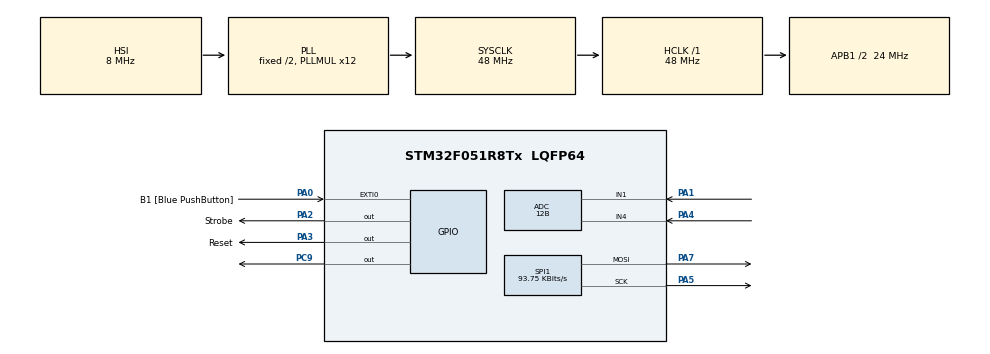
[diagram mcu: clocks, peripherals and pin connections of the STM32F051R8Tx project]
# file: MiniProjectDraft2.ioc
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ADC.ClockPrescaler=ADC_CLOCK_ASYNC_DIV1
ADC.ContinuousConvMode=DISABLE
ADC.DMAContinuousRequests=DISABLE
ADC.DataAlign=ADC_DATAALIGN_RIGHT
ADC.DiscontinuousConvMode=DISABLE
ADC.EOCSelection=ADC_EOC_SINGLE_CONV
ADC.EnableAnalogWatchDog=false
ADC.ExternalTrigConv=ADC_SOFTWARE_START
ADC.ExternalTrigConvEdge=ADC_EXTERNALTRIGCONVEDGE_NONE
ADC.LowPowerAutoPowerOff=DISABLE
ADC.LowPowerAutoWait=DISABLE
ADC.Overrun=ADC_OVR_DATA_PRESERVED
ADC.Resolution=ADC_RESOLUTION_12B
ADC.SamplingTime=ADC_SAMPLETIME_1CYCLE_5
ADC.ScanConvMode=ADC_SCAN_DIRECTION_FORWARD
Mcu.Family=STM32F0
Mcu.Name=STM32F051R8Tx
Mcu.Package=LQFP64
NVIC.TIM3_IRQn=true\:0\:0\:false\:false\:true\:true
PA0.GPIO_Label=B1 [Blue PushButton]
PA0.GPIO_ModeDefaultEXTI=GPIO_MODE_EVT_RISING
PA0.GPIO_PuPd=GPIO_PULLDOWN
PA0.Signal=GPXTI0
PA1.Mode=IN1
PA1.Signal=ADC_IN1
PA13.GPIO_Label=SWDIO
PA13.Mode=Serial_Wire
PA13.Signal=SYS_SWDIO
PA14.GPIO_Label=SWCLK
PA14.Mode=Serial_Wire
PA14.Signal=SYS_SWCLK
PA2.GPIO_Label=Strobe
PA2.GPIO_PuPd=GPIO_NOPULL
PA2.GPIO_Speed=GPIO_SPEED_FREQ_HIGH
PA2.PinState=GPIO_PIN_RESET
PA2.Signal=GPIO_Output
PA3.GPIO_Label=Reset
PA3.GPIO_Speed=GPIO_SPEED_FREQ_HIGH
PA3.PinState=GPIO_PIN_RESET
PA3.Signal=GPIO_Output
PA4.Mode=IN4
PA4.Signal=ADC_IN4
PA5.Mode=TX_Only_Simplex_Unidirect_Master
PA5.Signal=SPI1_SCK
PA7.Mode=TX_Only_Simplex_Unidirect_Master
PA7.Signal=SPI1_MOSI
PC9.Signal=GPIO_Output
ProjectManager.HeapSize=0x200
ProjectManager.StackSize=0x400
ProjectManager.TargetToolchain=SW4STM32
RCC.AHBFreq_Value=48000000
RCC.APB1CLKDivider=RCC_HCLK_DIV2
RCC.APB1Freq_Value=24000000
RCC.APB1TimFreq_Value=48000000
RCC.HCLKFreq_Value=48000000
RCC.PLLMUL=RCC_PLL_MUL12
RCC.SYSCLKFreq_VALUE=48000000
RCC.SYSCLKSource=RCC_SYSCLKSOURCE_PLLCLK
SPI1.BaudRatePrescaler=SPI_BAUDRATEPRESCALER_256
SPI1.CLKPhase=SPI_PHASE_2EDGE
SPI1.CLKPolarity=SPI_POLARITY_HIGH
SPI1.CalculateBaudRate=93.75 KBits/s
SPI1.DataSize=SPI_DATASIZE_8BIT
SPI1.Direction=SPI_DIRECTION_2LINES
SPI1.Mode=SPI_MODE_MASTER
SPI1.VirtualType=VM_MASTER
TIM3.Period=4
TIM3.Prescaler=47999
VP_TIM3_VS_ClockSourceINT.Mode=Internal
board=STM32F0DISCOVERY

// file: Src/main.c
/**
  ******************************************************************************
  * @file           : main.c
  * @brief          : Main program body
  ******************************************************************************
  ** This notice applies to any and all portions of this file
  * that are not between comment pairs USER CODE BEGIN and
  * USER CODE END. Other portions of this file, whether
  * inserted by the user or by software development tools
  * are owned by their respective copyright owners.
  *
  * COPYRIGHT(c) 2018 STMicroelectronics
  *
  * Redistribution and use in source and binary forms, with or without modification,
  * are permitted provided that the following conditions are met:
  *   1. Redistributions of source code must retain the above copyright notice,
  *      this list of conditions and the following disclaimer.
  *   2. Redistributions in binary form must reproduce the above copyright notice,
  *      this list of conditions and the following disclaimer in the documentation
  *      and/or other materials provided with the distribution.
  *   3. Neither the name of STMicroelectronics nor the names of its contributors
  *      may be used to endorse or promote products derived from this software
  *      without specific prior written permission.
  *
  * THIS SOFTWARE IS PROVIDED BY THE COPYRIGHT HOLDERS AND CONTRIBUTORS "AS IS"
  * AND ANY EXPRESS OR IMPLIED WARRANTIES, INCLUDING, BUT NOT LIMITED TO, THE
  * IMPLIED WARRANTIES OF MERCHANTABILITY AND FITNESS FOR A PARTICULAR PURPOSE ARE
  * DISCLAIMED. IN NO EVENT SHALL THE COPYRIGHT HOLDER OR CONTRIBUTORS BE LIABLE
  * FOR ANY DIRECT, INDIRECT, INCIDENTAL, SPECIAL, EXEMPLARY, OR CONSEQUENTIAL
  * DAMAGES (INCLUDING, BUT NOT LIMITED TO, PROCUREMENT OF SUBSTITUTE GOODS OR
  * SERVICES; LOSS OF USE, DATA, OR PROFITS; OR BUSINESS INTERRUPTION) HOWEVER
  * CAUSED AND ON ANY THEORY OF LIABILITY, WHETHER IN CONTRACT, STRICT LIABILITY,
  * OR TORT (INCLUDING NEGLIGENCE OR OTHERWISE) ARISING IN ANY WAY OUT OF THE USE
  * OF THIS SOFTWARE, EVEN IF ADVISED OF THE POSSIBILITY OF SUCH DAMAGE.
  *
  ******************************************************************************
  */
#include "main.h"
#include "stm32f0xx_hal.h"
#include "adc.h"
#include "spi.h"
#include "tim.h"
#include "gpio.h"

/* USER CODE BEGIN Includes */
#include "ledFunctions.h"
#include "globalVariables.h"
#include "displayDriver.h"
#include "interrupts.h"
#include "filter.h"
#include "stdlib.h"
#include "pot.h"

/* USER CODE END Includes */

/* USER CODE BEGIN PV */

/* Private variables ---------------------------------------------------------*/
	volatile int msDelay = 0;
	volatile int ms = 0;
	volatile int writeFlag = 0;
	volatile int userBtnFlag = 0;
	volatile int userBtnCurrent = 0;
	volatile int userBtnPrevious = 0;
	volatile int msCountFlag = 0;

/* initialize colors  { red, green, blue} */
	 int red[3] = {255, 0, 0};
	 int green[3] = {0, 255, 0};
	 int blue[3] = {0, 0, 255};
	 int magenta[3] = {255,0,255};
	 int yellow[3] = {255, 255, 0};
	 int white[3] = {255, 255, 255};
	 int cyan[3] = {0, 255, 255};
	 int maroon[3] = {128, 0, 0};
	 int olive[3] = {128, 128, 0};
	 int purple[3] = {128, 0, 128};
	 int teal[3] = {0, 128, 128};
	 int off[3] = {0, 0, 0};

	 /* memory for mode 1*/
	 int boxArea =  0;
	 int boxAreaPrevious = 0;
	 int borderArea = 0;
	 int * mode1BackgroundColorPattern[NUMBER_OF_BOX_COLORS] = {red, yellow, blue, purple};
	 int * mode1BoxColorPattern[NUMBER_OF_BOX_COLORS] = {green, white, magenta, olive};
	 int colorIndex = 0;
	 int bassCurrent = 0;
	 int bassPrevious = 0;
	 int backgroundColorIndex = 0;
	 int incrementBackgroundColor = 0;
	 int incrementBoxColorFlag = 0;

	 int fadeAmount = -1;
	 int msCount = 0;
	 int fade = BRIGHTNESS;
	 int *  mode1ColorPattern[10] = {teal, purple, olive, maroon, cyan, white, yellow, magenta, blue, green};
	 int bassThresh = 2000;
	 int bassSampleCount = 0;
	 int bassMovingAverage = 0;
	 int brightness = 0;

/* USER CODE END PV */

void SystemClock_Config(void);

/* USER CODE BEGIN PFP */
/* Private function prototypes -----------------------------------------------*/

// callback function definitions
void HAL_TIM_PeriodElapsedCallback(TIM_HandleTypeDef* htim)
{
	if (htim == &htim3){
		tim3_IT();
	}
}

/* USER CODE END PFP */

int main(void)
{

  /* MCU Configuration----------------------------------------------------------*/

  /* Reset of all peripherals, Initializes the Flash interface and the Systick. */
  HAL_Init();

  /* Configure the system clock */
  SystemClock_Config();

  /* Initialize all configured peripherals */
  MX_GPIO_Init();
  MX_SPI1_Init();
  MX_TIM3_Init();
  MX_ADC_Init();
  /* USER CODE BEGIN 2 */

  /* start TIM3 */
  HAL_TIM_Base_Start_IT(&htim3);

  /* LCD initializations */

  // delay 100 ms to allow LCD controller to come out of reset correctly
  delay_ms(100);

  // turn the display on
  displayOn();

  // set the display to max brightnes
  displayBrightness(8);

  // clear anything that was left on the screen
  displayClear();

  /* local variables */

  // initialize led matrix
  struct color leds [ROWS][COLS];

  // initialize spectrum array for sampling
  int spectrum[7];

  /* USER CODE END 2 */

  /* Infinite loop */
  /* USER CODE BEGIN WHILE */
  while (1)
  {

	  /* FREQ OUT*/

	  //update display
	  displayClear();
	  transmitDisplay(" Freq Out");

	  //mode 2 event loop
	  while (userBtnFlag == 0){

		  // get brightness value from pot
		  readBrightness();

		  // update leds
		  twinkle(leds);

		  // write to led strip
		  writeLeds(leds);

		  // write to the led strip if flag has been set
		  delay_ms(50);

	  }

	  // reset user button flag
	  userBtnFlag = 0;

	  /* SPECTRUM ANAYLYZER*/

	  //update display
	  displayClear();
	  transmitDisplay("Spectrum");

	  //mode 3 event loop
	  while (userBtnFlag == 0){

		  // get brightness value from pot
		  readBrightness();

		  //update filter
		  filter(spectrum);

		  // update led array based on audio spectrum content
		  spectrumAnalyzer(leds, spectrum);

		  // write to the led strip if flag has been set
		  if (writeFlag == 1){

			  // write to strip
			  writeLeds(leds);

			  // clear flag
			  writeFlag = 0;
		  }
	  }

	  //reset user button flag
	  userBtnFlag = 0;

	  /* BEAT */

	  //update display
	  displayClear();
	  transmitDisplay(" Beat");

	  //mode 1 event loop
	  while(userBtnFlag == 0){

		  // get brightness value from pot
		  readBrightness();

		  //update the filter values
		  filter(spectrum);

		  //update leds
		  mode1( leds, spectrum);

		  // write to the led strip if flag has been set
		  if (writeFlag == 1){

			  // write to strip
			  writeLeds(leds);

			  // clear flag
			  writeFlag = 0;
		  }

	  }

	  // reset user button flag
	  userBtnFlag = 0;

  /* USER CODE END WHILE */

  }

}

void SystemClock_Config(void)
{

  RCC_OscInitTypeDef RCC_OscInitStruct;
  RCC_ClkInitTypeDef RCC_ClkInitStruct;

    /**Initializes the CPU, AHB and APB busses clocks
    */
  RCC_OscInitStruct.OscillatorType = RCC_OSCILLATORTYPE_HSI|RCC_OSCILLATORTYPE_HSI14;
  RCC_OscInitStruct.HSIState = RCC_HSI_ON;
  RCC_OscInitStruct.HSI14State = RCC_HSI14_ON;
  RCC_OscInitStruct.HSICalibrationValue = 16;
  RCC_OscInitStruct.HSI14CalibrationValue = 16;
  RCC_OscInitStruct.PLL.PLLState = RCC_PLL_ON;
  RCC_OscInitStruct.PLL.PLLSource = RCC_PLLSOURCE_HSI;
  RCC_OscInitStruct.PLL.PLLMUL = RCC_PLL_MUL12;
  RCC_OscInitStruct.PLL.PREDIV = RCC_PREDIV_DIV1;
  if (HAL_RCC_OscConfig(&RCC_OscInitStruct) != HAL_OK)
  {
    _Error_Handler(__FILE__, __LINE__);
  }

    /**Initializes the CPU, AHB and APB busses clocks
    */
  RCC_ClkInitStruct.ClockType = RCC_CLOCKTYPE_HCLK|RCC_CLOCKTYPE_SYSCLK
                              |RCC_CLOCKTYPE_PCLK1;
  RCC_ClkInitStruct.SYSCLKSource = RCC_SYSCLKSOURCE_PLLCLK;
  RCC_ClkInitStruct.AHBCLKDivider = RCC_SYSCLK_DIV1;
  RCC_ClkInitStruct.APB1CLKDivider = RCC_HCLK_DIV2;

  if (HAL_RCC_ClockConfig(&RCC_ClkInitStruct, FLASH_LATENCY_1) != HAL_OK)
  {
    _Error_Handler(__FILE__, __LINE__);
  }

    /**Configure the Systick interrupt time
    */
  HAL_SYSTICK_Config(HAL_RCC_GetHCLKFreq()/1000);

    /**Configure the Systick
    */
  HAL_SYSTICK_CLKSourceConfig(SYSTICK_CLKSOURCE_HCLK);

  /* SysTick_IRQn interrupt configuration */
  HAL_NVIC_SetPriority(SysTick_IRQn, 0, 0);
}

void _Error_Handler(char *file, int line)
{
  while(1)
  {
  }
}

/************************ (C) COPYRIGHT STMicroelectronics *****END OF FILE****/
